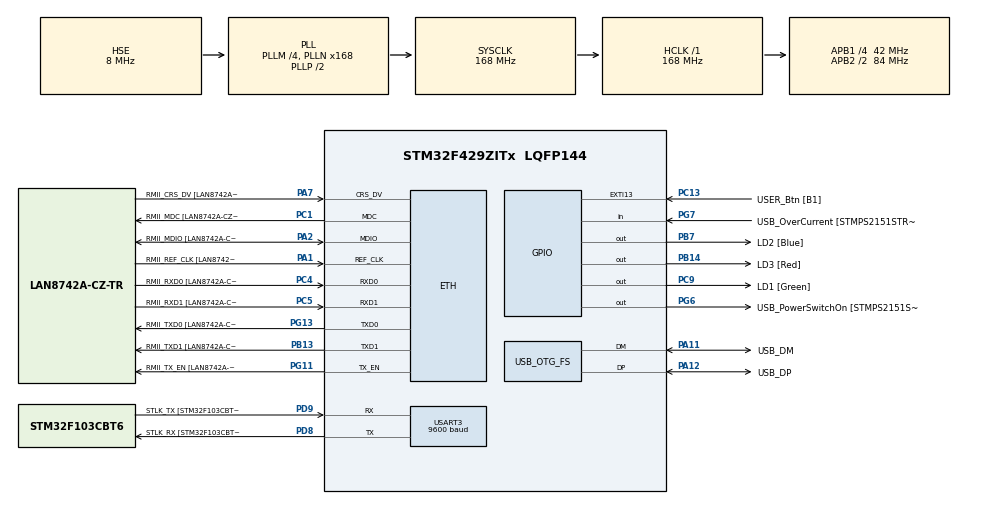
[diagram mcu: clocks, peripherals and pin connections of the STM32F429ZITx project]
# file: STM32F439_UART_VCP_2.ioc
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ETH.MediaInterface=ETH_MEDIA_INTERFACE_RMII
ETH.PHY_Name=LAN8742A_PHY_ADDRESS
ETH.PHY_Value=0
ETH.PhyAddress=0
Mcu.Family=STM32F4
Mcu.Name=STM32F429ZITx
Mcu.Package=LQFP144
NVIC.OTG_FS_IRQn=true\:0\:0\:false\:false\:true\:true\:true
NVIC.PriorityGroup=NVIC_PRIORITYGROUP_4
NVIC.USART3_IRQn=true\:0\:0\:false\:false\:true\:true\:true
PA1.GPIO_Label=RMII_REF_CLK [LAN8742A-CZ-TR_REFCLK0]
PA1.Mode=RMII
PA1.Signal=ETH_REF_CLK
PA10.GPIO_Label=USB_ID
PA10.Signal=USB_OTG_FS_ID
PA11.GPIO_Label=USB_DM
PA11.Mode=Device_Only
PA11.Signal=USB_OTG_FS_DM
PA12.GPIO_Label=USB_DP
PA12.Mode=Device_Only
PA12.Signal=USB_OTG_FS_DP
PA13.GPIO_Label=TMS
PA13.Mode=Serial_Wire
PA13.Signal=SYS_JTMS-SWDIO
PA14.GPIO_Label=TCK
PA14.Mode=Serial_Wire
PA14.Signal=SYS_JTCK-SWCLK
PA2.GPIO_Label=RMII_MDIO [LAN8742A-CZ-TR_MDIO]
PA2.Mode=RMII
PA2.Signal=ETH_MDIO
PA7.GPIO_Label=RMII_CRS_DV [LAN8742A-CZ-TR_CRS_DV]
PA7.Mode=RMII
PA7.Signal=ETH_CRS_DV
PA8.GPIO_Label=USB_SOF [TP1]
PA8.Signal=USB_OTG_FS_SOF
PA9.GPIO_Label=USB_VBUS
PA9.Signal=USB_OTG_FS_VBUS
PB13.GPIO_Label=RMII_TXD1 [LAN8742A-CZ-TR_TXD1]
PB13.Mode=RMII
PB13.Signal=ETH_TXD1
PB14.GPIO_Label=LD3 [Red]
PB14.Signal=GPIO_Output
PB7.GPIO_Label=LD2 [Blue]
PB7.Signal=GPIO_Output
PC1.GPIO_Label=RMII_MDC [LAN8742A-CZ-TR_MDC]
PC1.Mode=RMII
PC1.Signal=ETH_MDC
PC13.GPIO_Label=USER_Btn [B1]
PC13.Signal=GPXTI13
PC14/OSC32_IN.Mode=LSE-External-Oscillator
PC14/OSC32_IN.Signal=RCC_OSC32_IN
PC15/OSC32_OUT.Mode=LSE-External-Oscillator
PC15/OSC32_OUT.Signal=RCC_OSC32_OUT
PC4.GPIO_Label=RMII_RXD0 [LAN8742A-CZ-TR_RXD0]
PC4.Mode=RMII
PC4.Signal=ETH_RXD0
PC5.GPIO_Label=RMII_RXD1 [LAN8742A-CZ-TR_RXD1]
PC5.Mode=RMII
PC5.Signal=ETH_RXD1
PC9.GPIO_Label=LD1 [Green]
PC9.Signal=GPIO_Output
PD8.GPIO_Label=STLK_RX [STM32F103CBT6_PA3]
PD8.Mode=Asynchronous
PD8.Signal=USART3_TX
PD9.GPIO_Label=STLK_TX [STM32F103CBT6_PA2]
PD9.Mode=Asynchronous
PD9.Signal=USART3_RX
PG11.GPIO_Label=RMII_TX_EN [LAN8742A-CZ-TR_TXEN]
PG11.Mode=RMII
PG11.Signal=ETH_TX_EN
PG13.GPIO_Label=RMII_TXD0 [LAN8742A-CZ-TR_TXD0]
PG13.Mode=RMII
PG13.Signal=ETH_TXD0
PG6.GPIO_Label=USB_PowerSwitchOn [STMPS2151STR_EN]
PG6.Signal=GPIO_Output
PG7.GPIO_Label=USB_OverCurrent [STMPS2151STR_FAULT]
PG7.Signal=GPIO_Input
PH0/OSC_IN.GPIO_Label=MCO [STM32F103CBT6_PA8]
PH0/OSC_IN.Mode=HSE-External-Clock-Source
PH0/OSC_IN.Signal=RCC_OSC_IN
PH1/OSC_OUT.Mode=HSE-External-Clock-Source
PH1/OSC_OUT.Signal=RCC_OSC_OUT
ProjectManager.HeapSize=0x200
ProjectManager.StackSize=0x400
ProjectManager.TargetToolchain=STM32CubeIDE
RCC.48MHZClocksFreq_Value=48000000
RCC.AHBFreq_Value=168000000
RCC.APB1CLKDivider=RCC_HCLK_DIV4
RCC.APB1Freq_Value=42000000
RCC.APB1TimFreq_Value=84000000
RCC.APB2CLKDivider=RCC_HCLK_DIV2
RCC.APB2Freq_Value=84000000
RCC.APB2TimCLKDivider=2
RCC.APB2TimFreq_Value=168000000
RCC.CortexFreq_Value=168000000
RCC.HCLKFreq_Value=168000000
RCC.HSE_VALUE=8000000
RCC.HSI_VALUE=16000000
RCC.PLLM=4
RCC.PLLMUL=RCC_PLL_MUL9
RCC.PLLN=168
RCC.PLLQ=7
RCC.PRESCALERUSB=RCC_USBCLKSOURCE_PLL_DIV1_5
RCC.SYSCLKFreq_VALUE=168000000
RCC.SYSCLKSource=RCC_SYSCLKSOURCE_PLLCLK
RCC.SYSCLKSourceVirtual=RCC_SYSCLKSOURCE_PLLCLK
RCC.USBFreq_Value=48000000
RCC.VCOOutputFreq_Value=336000000
USART3.BaudRate=9600
USART3.VirtualMode=VM_ASYNC
USB_DEVICE.CLASS_NAME_FS=CDC
USB_DEVICE.VirtualMode-CDC_FS=Cdc
USB_DEVICE.VirtualModeFS=Cdc_FS
USB_OTG_FS.VirtualMode=Device_Only
VP_USB_DEVICE_VS_USB_DEVICE_CDC_FS.Mode=CDC_FS
board=NUCLEO-F429ZI

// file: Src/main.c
/* USER CODE BEGIN Header */
/**
  ******************************************************************************
  * @file           : main.c
  * @brief          : Main program body
  ******************************************************************************
  * @attention
  *
  * <h2><center>&copy; Copyright (c) 2019 STMicroelectronics.
  * All rights reserved.</center></h2>
  *
  * This software component is licensed by ST under BSD 3-Clause license,
  * the "License"; You may not use this file except in compliance with the
  * License. You may obtain a copy of the License at:
  *                        opensource.org/licenses/BSD-3-Clause
  *
  ******************************************************************************
  */
// RoSchmi 18.07.2019:
// This application was made for the NUCLEO-STM32F429ZI / F439ZI, may run on other STM32F4 Boars as well
//
// The program demonstrates the use of serial connection through USART and USB_Device Virtual COM Port (VCP, CDC)
//
// Data are sent and received through serial ports (e.g. Teraterm can be used as 2 Terminals)

//
// When data are sent through the CDC virtual COM Port, the function  CDC_Transmit_FS in usbd_cdc_if.c is used
// When data are written through the UART3 (STLink Virtual COM Port) HAL_UART_Transmit in stm32f4xx_hal_uart.c is used
//
// Data sent to the USB CDC Port (CN13) came in through the CDC_Receive_FS callback function in usbd_cdc_if.c
// This function shall not be called by the user code.
// The content of the buffer is copied and transfered to the user program via the VCP_retrieveInputData function in usbd_cdc_if.c
//
// If the CDC Virtual COM Port is not enumerated be the connected PC, try to change the size of stack and heap in CubeMX
// Change stack size and heap size from 400-> 4000, 200->2000
// Furthermore try to set the Checkbox 'Generate peripheral initialization as a pair of 'c/h' files per peripheral
//
// These posts were helpful.
// https://stackoverflow.com/questions/33549084/stm32cubemx-usb-cdc-vcp
//
// STM32 USB CDC (Virtual Com Port) with CubeMX HAL in 6 minutes
// https://www.youtube.com/watch?v=AYICE0gU-Sg
//
// 13-USB_CDC-Library (STM32F429)
// http://mikrocontroller.bplaced.net/wordpress/?page_id=309
//
// STM32 USB CDC
// https://damogranlabs.com/2018/02/stm32-usb-cdc/
//
// Read data from PC to STM32 via USB CDC
// https://community.st.com/s/question/0D50X00009Xkfd1SAB/read-data-from-pc-to-stm32-via-usb-cdc
// Valuable help is also present in the op's bitbucket Project: https://bitbucket.org/rwmao/cdc_onstm32f411rc/src/master/
// (an 'HowTo .pdf and valuable snapshots showing important things in the initialization)
//
// Helpful Video about using interrupts with receive through UART
// https://www.youtube.com/watch?v=VdHt_wJdezM

/* USER CODE END Header */

#include "main.h"
#include "eth.h"
#include "usart.h"
#include "usb_device.h"
#include "gpio.h"

/* USER CODE BEGIN Includes */
#include "usbd_cdc_if.h"
#include "usbd_cdc.h"
#include "usbd_core.h"
#include "usbd_desc.h"
/* USER CODE END Includes */

/* USER CODE BEGIN PV */
uint8_t ReadBuffer[100];
uint8_t MessageSent = 0;
uint32_t Len = 0;
uint8_t cnt = 0;

/* USER CODE END PV */

void SystemClock_Config(void);

/* USER CODE BEGIN 0 */
uint8_t rec_Data[10];
uint8_t rx_index = 0;
uint8_t rx_data;
uint8_t rx_buffer[40];
uint8_t char_buffer[2];

void HAL_UART_RxCpltCallback(UART_HandleTypeDef *huart)
{
	if (huart->Instance == USART3)
	{
		if (rx_index == 0)
		{
			for (int i = 0; i < 20; i++)
			{
				rx_buffer[i] = 0;
			}
		}

		// Calling CDC_Transmit_FS in usbd_cdc_if

		char_buffer[0] = rx_data;
		if (rx_data !=13 )			// if the charcter received is other than 'enter' ascii 13, save the data in buffer
		{
			rx_buffer[rx_index++] = rx_data;

			// Calling CDC_Transmit_FS in usbd_cdc_if
			CDC_Transmit_FS(char_buffer, 1);
		}
		else
		{
			char_buffer[1] = 0x0A;     // New line

			rx_buffer[rx_index++] = rx_data;
			rx_buffer[rx_index++] = 0x0A;
			rx_index = 0;
			HAL_UART_Transmit(&huart3, rx_buffer, sizeof(rx_buffer), 200);    // transmit the data via uart

			// Calling CDC_Transmit_FS in usbd_cdc_if
			CDC_Transmit_FS(char_buffer, 2);

		}

        HAL_UART_Receive_IT(&huart3, &rx_data,1);   // receive data (one character only)
	}

}

/* USER CODE END 0 */

int main(void)
{

  /* MCU Configuration--------------------------------------------------------*/

  /* Reset of all peripherals, Initializes the Flash interface and the Systick. */
  HAL_Init();

  /* Configure the system clock */
  SystemClock_Config();

  /* Initialize all configured peripherals */
  MX_GPIO_Init();
  MX_ETH_Init();
  MX_USART3_UART_Init();
  MX_USB_DEVICE_Init();

  /* USER CODE BEGIN 2 */

   __HAL_UART_ENABLE_IT(&huart3, UART_IT_RXNE);  // This will enable UART Receive interrupt

   HAL_UART_Receive_IT(&huart3, &rx_data, 1);

    uint8_t HiMsgUART[] = "Hello UART, CDC is waiting to receive!\r\n";
    uint8_t HiMsgCDC[] = "Hello CDC, UART is waiting to receive!\r\n";

  /* USER CODE END 2 */

  /* Infinite loop */
  while (1)
  {

	  /* USER CODE BEGIN 3 */

	  if (MessageSent == 0)
	  {
		  // Toggle LEDs to signal that program is running
          for (int i = 0; i < 5; i++)
          {
        	  HAL_GPIO_TogglePin(GPIOB, GPIO_PIN_7);
		  	  HAL_Delay(200);
		  	  HAL_GPIO_TogglePin(GPIOB, GPIO_PIN_14);
		  	  HAL_Delay(200);
          }

		  // Calling HAL_UART_Transmit in stm32f4xx_hal_uart.c
		  HAL_UART_Transmit(&huart3,HiMsgUART,sizeof(HiMsgUART),100);// Sending in normal mode

		  // Calling CDC_Transmit_FS in usbd_cdc_if
		  CDC_Transmit_FS(HiMsgCDC, strlen((const char*)HiMsgCDC));

		  MessageSent = 1;
	  }

	  cnt = VCP_retrieveInputData(ReadBuffer, &Len);

	//  HAL_UART_Receive(&huart3, receiveData, 10, 100);

	  if (Len > 0)
	  {
		  HAL_UART_Transmit(&huart3,ReadBuffer,sizeof(ReadBuffer),Len);// Sending in normal mode
		  Len = 0;
	  }

  /* USER CODE END 3 */
  }
}

void SystemClock_Config(void)
{
  RCC_OscInitTypeDef RCC_OscInitStruct = {0};
  RCC_ClkInitTypeDef RCC_ClkInitStruct = {0};

  /** Configure the main internal regulator output voltage
  */
  __HAL_RCC_PWR_CLK_ENABLE();
  __HAL_PWR_VOLTAGESCALING_CONFIG(PWR_REGULATOR_VOLTAGE_SCALE1);
  /** Initializes the CPU, AHB and APB busses clocks
  */
  RCC_OscInitStruct.OscillatorType = RCC_OSCILLATORTYPE_HSE;
  RCC_OscInitStruct.HSEState = RCC_HSE_BYPASS;
  RCC_OscInitStruct.PLL.PLLState = RCC_PLL_ON;
  RCC_OscInitStruct.PLL.PLLSource = RCC_PLLSOURCE_HSE;
  RCC_OscInitStruct.PLL.PLLM = 4;
  RCC_OscInitStruct.PLL.PLLN = 168;
  RCC_OscInitStruct.PLL.PLLP = RCC_PLLP_DIV2;
  RCC_OscInitStruct.PLL.PLLQ = 7;
  if (HAL_RCC_OscConfig(&RCC_OscInitStruct) != HAL_OK)
  {
    Error_Handler();
  }
  /** Initializes the CPU, AHB and APB busses clocks
  */
  RCC_ClkInitStruct.ClockType = RCC_CLOCKTYPE_HCLK|RCC_CLOCKTYPE_SYSCLK
                              |RCC_CLOCKTYPE_PCLK1|RCC_CLOCKTYPE_PCLK2;
  RCC_ClkInitStruct.SYSCLKSource = RCC_SYSCLKSOURCE_PLLCLK;
  RCC_ClkInitStruct.AHBCLKDivider = RCC_SYSCLK_DIV1;
  RCC_ClkInitStruct.APB1CLKDivider = RCC_HCLK_DIV4;
  RCC_ClkInitStruct.APB2CLKDivider = RCC_HCLK_DIV2;

  if (HAL_RCC_ClockConfig(&RCC_ClkInitStruct, FLASH_LATENCY_5) != HAL_OK)
  {
    Error_Handler();
  }
}

void Error_Handler(void)
{
}

/************************ (C) COPYRIGHT STMicroelectronics *****END OF FILE****/
